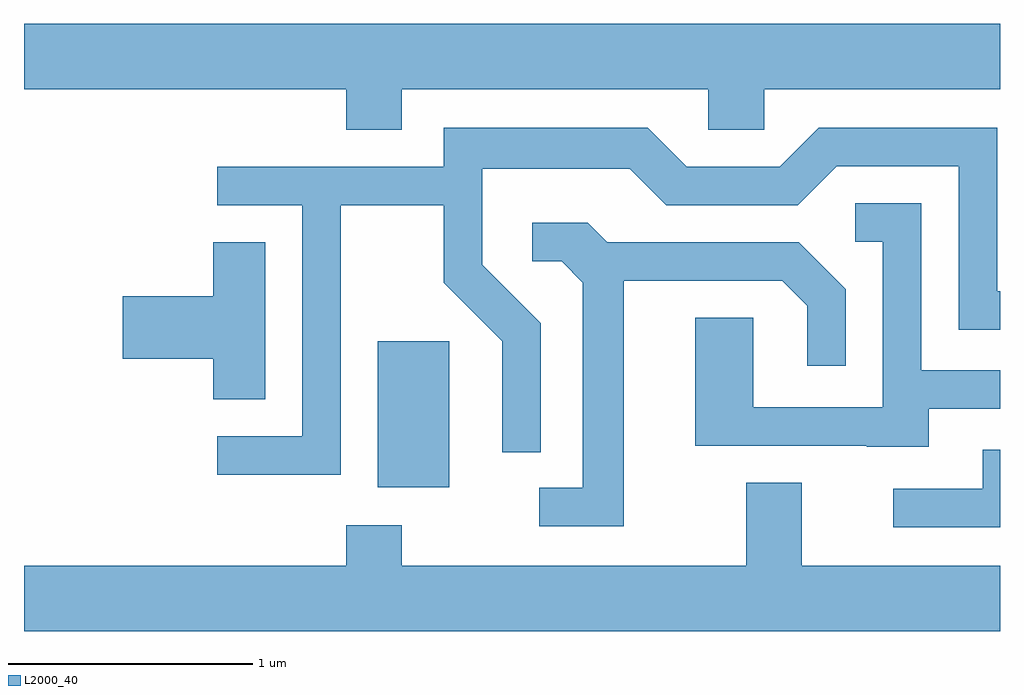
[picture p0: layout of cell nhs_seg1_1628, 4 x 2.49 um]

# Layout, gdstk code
import gdstk
lib = gdstk.Library(unit=1e-6, precision=1e-09)
def R(c, l, rs):  # rectangles x0, y0, x1, y1
    for r in rs: c.add(gdstk.rectangle(r[:2], r[2:], *l))
def P(c, l, *ps):  # polygons
    for p in ps: c.add(gdstk.Polygon(p, *l))
L2000_40 = (2000, 40)

nhs_seg1_1628 = lib.new_cell('nhs_seg1_1628')
R(nhs_seg1_1628, L2000_40, [(237.061,882.406,237.354,883.004)])
P(nhs_seg1_1628, L2000_40, [(237.159,884.036),(238.416,884.036),(238.416,883.871),(238.644,883.871),(238.644,884.036),(239.611,884.036),(239.611,884.304),(235.611,884.304),(235.611,884.036),(236.931,884.036),(236.931,883.871),(237.159,883.871)],
  [(236.909,883.561),(237.331,883.561),(237.331,883.244),(237.571,883.004),(237.571,882.548),(237.729,882.548),(237.729,883.077),(237.489,883.317),(237.489,883.711),(238.094,883.711),(238.244,883.561),(238.782,883.561),(238.942,883.721),(239.441,883.721),(239.441,883.051),(239.611,883.051),(239.611,883.209),(239.599,883.209),(239.599,883.879),(238.869,883.879),(238.709,883.719),(238.327,883.719),(238.167,883.879),(237.331,883.879),(237.331,883.719),(236.403,883.719),(236.403,883.561),(236.751,883.561),(236.751,882.614),(236.403,882.614),(236.403,882.456),(236.909,882.456)],
  [(239.319,882.726),(239.611,882.726),(239.611,882.884),(239.289,882.884),(239.289,883.569),(239.018,883.569),(239.018,883.411),(239.131,883.411),(239.131,882.734),(238.599,882.734),(238.599,883.099),(238.361,883.099),(238.361,882.576),(239.065,882.576),(239.065,882.571),(239.319,882.571)],
  [(238.069,883.251),(238.719,883.251),(238.821,883.149),(238.821,882.903),(238.979,882.903),(238.979,883.217),(238.787,883.409),(238.002,883.409),(237.922,883.489),(237.693,883.489),(237.693,883.331),(237.814,883.331),(237.901,883.244),(237.901,882.404),(237.723,882.404),(237.723,882.246),(238.069,882.246)],
  [(236.599,883.409),(236.386,883.409),(236.386,883.189),(236.016,883.189),(236.016,882.931),(236.386,882.931),(236.386,882.766),(236.599,882.766)],
  [(239.611,882.559),(239.541,882.559),(239.541,882.399),(239.173,882.399),(239.173,882.241),(239.611,882.241)],
  [(239.611,882.084),(238.799,882.084),(238.799,882.424),(238.571,882.424),(238.571,882.084),(237.159,882.084),(237.159,882.249),(236.931,882.249),(236.931,882.084),(235.611,882.084),(235.611,881.816),(239.611,881.816)])

lib.write_gds('nhs_seg1_1628.gds')
